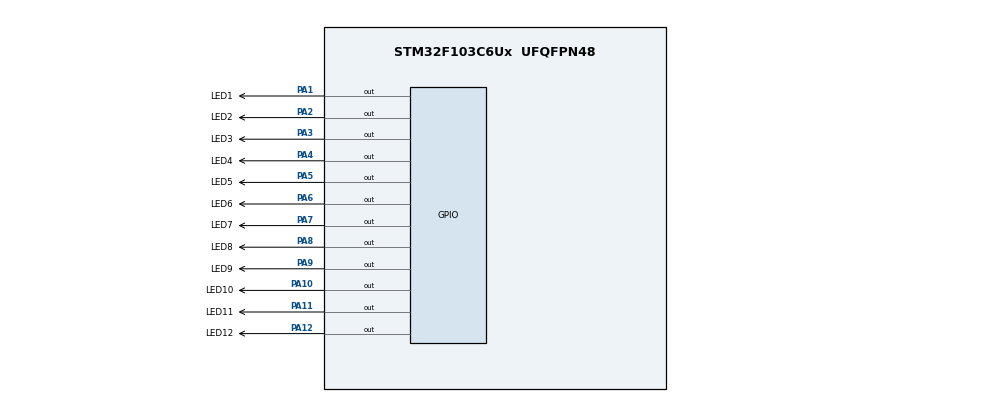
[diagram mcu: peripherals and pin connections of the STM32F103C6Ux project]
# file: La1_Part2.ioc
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Mcu.Family=STM32F1
Mcu.Name=STM32F103C6Ux
Mcu.Package=UFQFPN48
NVIC.PriorityGroup=NVIC_PRIORITYGROUP_4
PA1.GPIO_Label=LED1
PA1.Signal=GPIO_Output
PA10.GPIO_Label=LED10
PA10.Signal=GPIO_Output
PA11.GPIO_Label=LED11
PA11.Signal=GPIO_Output
PA12.GPIO_Label=LED12
PA12.Signal=GPIO_Output
PA2.GPIO_Label=LED2
PA2.Signal=GPIO_Output
PA3.GPIO_Label=LED3
PA3.Signal=GPIO_Output
PA4.GPIO_Label=LED4
PA4.Signal=GPIO_Output
PA5.GPIO_Label=LED5
PA5.Signal=GPIO_Output
PA6.GPIO_Label=LED6
PA6.Signal=GPIO_Output
PA7.GPIO_Label=LED7
PA7.Signal=GPIO_Output
PA8.GPIO_Label=LED8
PA8.Signal=GPIO_Output
PA9.GPIO_Label=LED9
PA9.Signal=GPIO_Output
ProjectManager.HeapSize=0x200
ProjectManager.StackSize=0x400
ProjectManager.TargetToolchain=STM32CubeIDE
RCC.APB1Freq_Value=8000000
RCC.APB2Freq_Value=8000000
board=custom

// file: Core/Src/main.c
/* USER CODE BEGIN Header */
/**
  ******************************************************************************
  * @file           : main.c
  * @brief          : Main program body
  ******************************************************************************
  * @attention
  *
  * Copyright (c) 2024 STMicroelectronics.
  * All rights reserved.
  *
  * This software is licensed under terms that can be found in the LICENSE file
  * in the root directory of this software component.
  * If no LICENSE file comes with this software, it is provided AS-IS.
  *
  ******************************************************************************
  */
/* USER CODE END Header */
#include "main.h"

void SystemClock_Config(void);
static void MX_GPIO_Init(void);

typedef struct {
    GPIO_TypeDef* port;
    uint16_t pin;
} GPIO_PinMap;

GPIO_PinMap ledMap[] = {
    {LED1_GPIO_Port, LED1_Pin},
    {LED2_GPIO_Port, LED2_Pin},
    {LED3_GPIO_Port, LED3_Pin},
    {LED4_GPIO_Port, LED4_Pin},
    {LED5_GPIO_Port, LED5_Pin},
    {LED6_GPIO_Port, LED6_Pin},
    {LED7_GPIO_Port, LED7_Pin},
    {LED8_GPIO_Port, LED8_Pin},
    {LED9_GPIO_Port, LED9_Pin},
    {LED10_GPIO_Port, LED10_Pin},
    {LED11_GPIO_Port, LED11_Pin},
    {LED12_GPIO_Port, LED12_Pin}
};
void display7SEG(int num) {
    if (num >= 1 && num <= 12) {
        HAL_GPIO_WritePin(ledMap[num - 1].port, ledMap[num - 1].pin, GPIO_PIN_RESET);
    }
}
void clearNumberonClock (int num) {
	deleteLED(num) ;
}
void setNumberonClock (int num) {
	display7SEG(num) ;
}
void clearAllclockHelper(int index) {
    if (index == 0) {
        return;
    }
    HAL_GPIO_WritePin(ledMap[index - 1].port, ledMap[index - 1].pin, GPIO_PIN_SET);
    clearAllclockHelper(index - 1);
}

void clearAllclock() {
    clearAllclockHelper(12);
}

void deleteLED(int num) {
	if (num >= 1 && num <= 12) {
	    HAL_GPIO_WritePin(ledMap[num - 1].port, ledMap[num - 1].pin, GPIO_PIN_SET);
	}
}
int main(void)
{

  /* MCU Configuration--------------------------------------------------------*/

  /* Reset of all peripherals, Initializes the Flash interface and the Systick. */
  HAL_Init();

  /* Configure the system clock */
  SystemClock_Config();

  /* Initialize all configured peripherals */
  MX_GPIO_Init();

  /* Infinite loop */
  /* USER CODE BEGIN WHILE */
  int sec = 1 ;
  int hr = 0 ;
  int min = 0 ;
  while (1)
  {
	  clearAllclock();
	  display7SEG(sec);
	  display7SEG(min);
	  display7SEG(hr);
	  if (sec == 12) {
		  min++;
		  sec = 0;
	  }
	  if (min == 12) {
		  hr++;
		  min = 0;
	  }
	  if (hr == 12 && min == 12) {
		  hr = 1 ;
	  }
	  sec++ ;
	  HAL_Delay(1000);
	}
    /* USER CODE END WHILE */

}

void SystemClock_Config(void)
{
  RCC_OscInitTypeDef RCC_OscInitStruct = {0};
  RCC_ClkInitTypeDef RCC_ClkInitStruct = {0};

  /** Initializes the RCC Oscillators according to the specified parameters
  * in the RCC_OscInitTypeDef structure.
  */
  RCC_OscInitStruct.OscillatorType = RCC_OSCILLATORTYPE_HSI;
  RCC_OscInitStruct.HSIState = RCC_HSI_ON;
  RCC_OscInitStruct.HSICalibrationValue = RCC_HSICALIBRATION_DEFAULT;
  RCC_OscInitStruct.PLL.PLLState = RCC_PLL_NONE;
  if (HAL_RCC_OscConfig(&RCC_OscInitStruct) != HAL_OK)
  {
    Error_Handler();
  }

  /** Initializes the CPU, AHB and APB buses clocks
  */
  RCC_ClkInitStruct.ClockType = RCC_CLOCKTYPE_HCLK|RCC_CLOCKTYPE_SYSCLK
                              |RCC_CLOCKTYPE_PCLK1|RCC_CLOCKTYPE_PCLK2;
  RCC_ClkInitStruct.SYSCLKSource = RCC_SYSCLKSOURCE_HSI;
  RCC_ClkInitStruct.AHBCLKDivider = RCC_SYSCLK_DIV1;
  RCC_ClkInitStruct.APB1CLKDivider = RCC_HCLK_DIV1;
  RCC_ClkInitStruct.APB2CLKDivider = RCC_HCLK_DIV1;

  if (HAL_RCC_ClockConfig(&RCC_ClkInitStruct, FLASH_LATENCY_0) != HAL_OK)
  {
    Error_Handler();
  }
}

static void MX_GPIO_Init(void)
{
  GPIO_InitTypeDef GPIO_InitStruct = {0};

  /* GPIO Ports Clock Enable */
  __HAL_RCC_GPIOA_CLK_ENABLE();

  /*Configure GPIO pin Output Level */
  HAL_GPIO_WritePin(GPIOA, LED1_Pin|LED2_Pin|LED3_Pin|LED4_Pin
                          |LED5_Pin|LED6_Pin|LED7_Pin|LED8_Pin
                          |LED9_Pin|LED10_Pin|LED11_Pin|LED12_Pin, GPIO_PIN_RESET);

  /*Configure GPIO pins : LED1_Pin LED2_Pin LED3_Pin LED4_Pin
                           LED5_Pin LED6_Pin LED7_Pin LED8_Pin
                           LED9_Pin LED10_Pin LED11_Pin LED12_Pin */
  GPIO_InitStruct.Pin = LED1_Pin|LED2_Pin|LED3_Pin|LED4_Pin
                          |LED5_Pin|LED6_Pin|LED7_Pin|LED8_Pin
                          |LED9_Pin|LED10_Pin|LED11_Pin|LED12_Pin;
  GPIO_InitStruct.Mode = GPIO_MODE_OUTPUT_PP;
  GPIO_InitStruct.Pull = GPIO_NOPULL;
  GPIO_InitStruct.Speed = GPIO_SPEED_FREQ_LOW;
  HAL_GPIO_Init(GPIOA, &GPIO_InitStruct);

}

void Error_Handler(void)
{
  __disable_irq();
  while (1)
  {
  }
}
